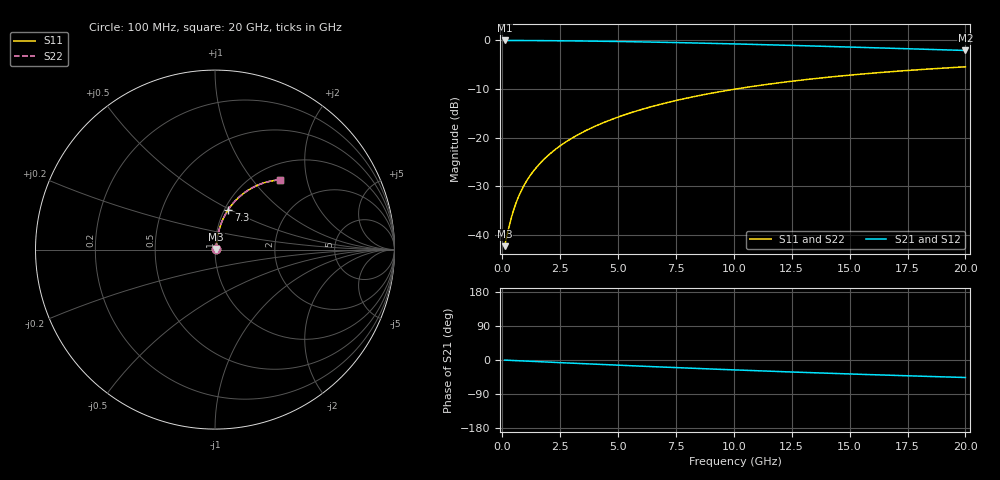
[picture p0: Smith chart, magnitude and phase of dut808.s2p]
! Touchstone file exported from HFSS 2024.1.0
!  File:  C:/UserFiles/LocalFiles/RDL_TSV_Batchsim/temp_RDL_top_808_1779854033.aedt
!  Generated:  11:56:13 AM May 27, 2026
!  Design:  RDL_top
!  Project:  temp_RDL_top_808_1779854033
!  Setup:  Setup1
!  Solution:  Sweep
! Variables:
!  dtsv = 10.80580581um
!  hbump = 3um
!  htsv = 51.77um
!  ldown = 100um
!  lrdl = 553.51um
!  p = 40
!  p1 = 58.34um
!  rhole = 1um
!  t = 450um
!  tdown = 3.915915916um
!  trdl = 2.29um
!  wdown = 15.38538539um
!  wrdl = 12.63um
# GHz S MA R 50.000000
! Terminal data exported
! Port[1] = Box2_T1
! Port[2] = Box2_T2
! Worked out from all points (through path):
!   200 points, 100 MHz to 20 GHz, reference 50 ohm
!   highest |S21| = -0.06 dB at 100 MHz (marker M1); lowest = -2.1 dB at 20 GHz (marker M2)
!   group delay of S21, straight-line fit = 6.42 ps
!   lowest |S11| = -42.3 dB at 100 MHz (marker M3), VSWR 1.02, Z = 50.7 + j0.344 ohm
!   |S11| at or under -10 dB: start of sweep to 10.13 GHz
!   |S22| runs from -42.3 to -5.5 dB; largest |S21 - S12| = 3e-15
!   S11 on the Smith chart (normalised r, x): 100 MHz: 1.01, +0.01; 7.3 GHz: 1.04, +0.49; 20 GHz: 1.29, +1.40
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0.1  0.007664 26.3  0.9931 -0.3  0.9931 -0.3  0.007664 26.3
! Gamma 0 0 0 0
! Port Impedance 50 0 50 0
0.3  0.01237 55.0  0.9929 -0.9  0.9929 -0.9  0.01237 55.0
0.4  0.01531 61.6  0.9928 -1.1  0.9928 -1.1  0.01531 61.6
0.5  0.01838 65.9  0.9926 -1.4  0.9926 -1.4  0.01838 65.9
0.6  0.02151 68.9  0.9924 -1.7  0.9924 -1.7  0.02151 68.9
0.7  0.02466 71.1  0.9921 -2.0  0.9921 -2.0  0.02466 71.1
0.9  0.03102 73.9  0.9916 -2.6  0.9916 -2.6  0.03102 73.9
1.2  0.04058 76.3  0.9908 -3.4  0.9908 -3.4  0.04058 76.3
1.4  0.04696 77.3  0.9902 -3.9  0.9902 -3.9  0.04696 77.3
1.7  0.05655 78.2  0.9892 -4.8  0.9892 -4.8  0.05655 78.2
2.2  0.07258 78.8  0.9872 -6.1  0.9872 -6.1  0.07258 78.8
2.8  0.09186 78.8  0.9844 -7.8  0.9844 -7.8  0.09186 78.8
3.5  0.1144 78.2  0.9803 -9.7  0.9803 -9.7  0.1144 78.2
4.2  0.1368 77.3  0.9756 -11.6  0.9756 -11.6  0.1368 77.3
5  0.1623 76.1  0.9693 -13.7  0.9693 -13.7  0.1623 76.1
6.8  0.2187 72.7  0.9525 -18.3  0.9525 -18.3  0.2186 72.7
7.3  0.2339 71.7  0.9472 -19.6  0.9472 -19.6  0.2339 71.7
8.6  0.2727 69.0  0.9326 -22.8  0.9326 -22.8  0.2727 69.0
10.1  0.3155 65.8  0.9145 -26.3  0.9145 -26.3  0.3155 65.8
13.4  0.4007 59.0  0.8714 -33.6  0.8714 -33.6  0.4006 59.0
16.7  0.4728 52.7  0.827 -40.2  0.827 -40.2  0.4728 52.7
20  0.5326 46.9  0.7838 -46.2  0.7838 -46.2  0.5325 46.9
